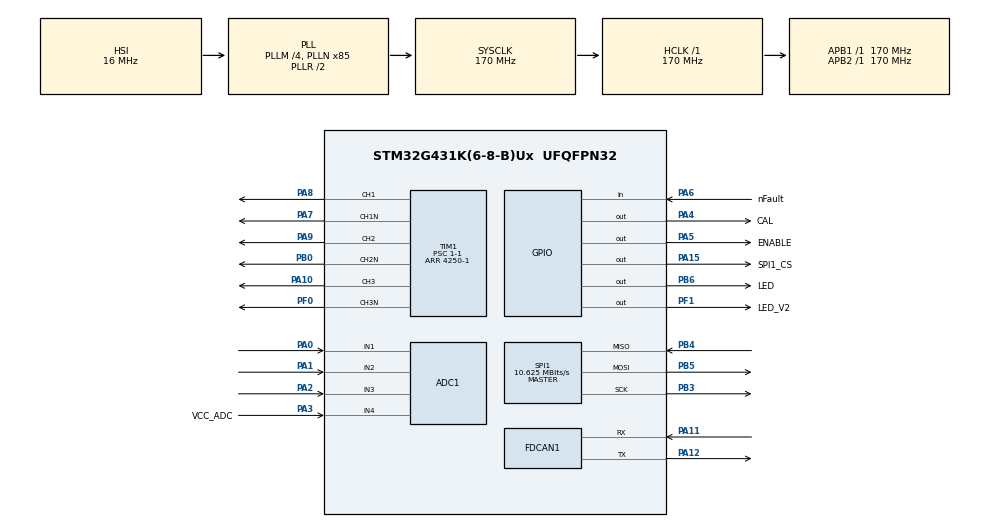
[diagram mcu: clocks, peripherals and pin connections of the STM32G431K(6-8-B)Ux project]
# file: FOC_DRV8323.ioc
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ADC1.Channel-16\#ChannelRegularConversion=ADC_CHANNEL_4
ADC1.Channel-17\#ChannelRegularConversion=ADC_CHANNEL_TEMPSENSOR_ADC1
ADC1.Channel-18\#ChannelRegularConversion=ADC_CHANNEL_VREFINT
ADC1.EnableInjectedConversion=ENABLE
ADC1.EnableRegularConversion=ENABLE
ADC1.ExternalTrigInjecConv=ADC_EXTERNALTRIGINJEC_T1_TRGO
ADC1.InjNumberOfConversion=3
ADC1.InjectedChannel-6\#ChannelInjectedConversion=ADC_CHANNEL_1
ADC1.InjectedChannel-7\#ChannelInjectedConversion=ADC_CHANNEL_2
ADC1.InjectedChannel-8\#ChannelInjectedConversion=ADC_CHANNEL_3
ADC1.InjectedOffsetNumber-6\#ChannelInjectedConversion=ADC_OFFSET_NONE
ADC1.InjectedOffsetNumber-7\#ChannelInjectedConversion=ADC_OFFSET_NONE
ADC1.InjectedOffsetNumber-8\#ChannelInjectedConversion=ADC_OFFSET_NONE
ADC1.InjectedRank-6\#ChannelInjectedConversion=1
ADC1.InjectedRank-7\#ChannelInjectedConversion=2
ADC1.InjectedRank-8\#ChannelInjectedConversion=3
ADC1.InjectedSamplingTime-6\#ChannelInjectedConversion=ADC_SAMPLETIME_2CYCLES_5
ADC1.InjectedSamplingTime-7\#ChannelInjectedConversion=ADC_SAMPLETIME_2CYCLES_5
ADC1.InjectedSamplingTime-8\#ChannelInjectedConversion=ADC_SAMPLETIME_2CYCLES_5
ADC1.NbrOfConversion=3
ADC1.NbrOfConversionFlag=1
ADC1.OffsetNumber-16\#ChannelRegularConversion=ADC_OFFSET_NONE
ADC1.OffsetNumber-17\#ChannelRegularConversion=ADC_OFFSET_NONE
ADC1.OffsetNumber-18\#ChannelRegularConversion=ADC_OFFSET_NONE
ADC1.Rank-16\#ChannelRegularConversion=1
ADC1.Rank-17\#ChannelRegularConversion=2
ADC1.Rank-18\#ChannelRegularConversion=3
ADC1.Rank1_Channel=ADC_CHANNEL_1
ADC1.Rank2_Channel=ADC_CHANNEL_2
ADC1.Rank3_Channel=ADC_CHANNEL_3
ADC1.Rank4_Channel=ADC_CHANNEL_4
ADC1.SamplingTime-16\#ChannelRegularConversion=ADC_SAMPLETIME_2CYCLES_5
ADC1.SamplingTime-17\#ChannelRegularConversion=ADC_SAMPLETIME_2CYCLES_5
ADC1.SamplingTime-18\#ChannelRegularConversion=ADC_SAMPLETIME_2CYCLES_5
ADC1.master=1
Dma.ADC1.0.Direction=DMA_PERIPH_TO_MEMORY
Dma.ADC1.0.EventEnable=DISABLE
Dma.ADC1.0.Instance=DMA1_Channel1
Dma.ADC1.0.MemDataAlignment=DMA_MDATAALIGN_HALFWORD
Dma.ADC1.0.MemInc=DMA_MINC_ENABLE
Dma.ADC1.0.Mode=DMA_NORMAL
Dma.ADC1.0.PeriphDataAlignment=DMA_PDATAALIGN_HALFWORD
Dma.ADC1.0.PeriphInc=DMA_PINC_DISABLE
Dma.ADC1.0.Polarity=HAL_DMAMUX_REQ_GEN_RISING
Dma.ADC1.0.Priority=DMA_PRIORITY_VERY_HIGH
Dma.ADC1.0.RequestNumber=1
Dma.ADC1.0.SignalID=NONE
Dma.ADC1.0.SyncEnable=DISABLE
Dma.ADC1.0.SyncPolarity=HAL_DMAMUX_SYNC_NO_EVENT
Dma.ADC1.0.SyncRequestNumber=1
Dma.ADC1.0.SyncSignalID=NONE
Dma.Request0=ADC1
Dma.Request1=SPI1_RX
Dma.Request2=SPI1_TX
Dma.SPI1_RX.1.Direction=DMA_PERIPH_TO_MEMORY
Dma.SPI1_RX.1.EventEnable=DISABLE
Dma.SPI1_RX.1.Instance=DMA2_Channel1
Dma.SPI1_RX.1.MemDataAlignment=DMA_MDATAALIGN_BYTE
Dma.SPI1_RX.1.MemInc=DMA_MINC_ENABLE
Dma.SPI1_RX.1.Mode=DMA_NORMAL
Dma.SPI1_RX.1.PeriphDataAlignment=DMA_PDATAALIGN_BYTE
Dma.SPI1_RX.1.PeriphInc=DMA_PINC_DISABLE
Dma.SPI1_RX.1.Polarity=HAL_DMAMUX_REQ_GEN_RISING
Dma.SPI1_RX.1.Priority=DMA_PRIORITY_HIGH
Dma.SPI1_RX.1.RequestNumber=1
Dma.SPI1_RX.1.SignalID=NONE
Dma.SPI1_RX.1.SyncEnable=DISABLE
Dma.SPI1_RX.1.SyncPolarity=HAL_DMAMUX_SYNC_NO_EVENT
Dma.SPI1_RX.1.SyncRequestNumber=1
Dma.SPI1_RX.1.SyncSignalID=NONE
Dma.SPI1_TX.2.Direction=DMA_MEMORY_TO_PERIPH
Dma.SPI1_TX.2.EventEnable=DISABLE
Dma.SPI1_TX.2.Instance=DMA2_Channel2
Dma.SPI1_TX.2.MemDataAlignment=DMA_MDATAALIGN_BYTE
Dma.SPI1_TX.2.MemInc=DMA_MINC_ENABLE
Dma.SPI1_TX.2.Mode=DMA_NORMAL
Dma.SPI1_TX.2.PeriphDataAlignment=DMA_PDATAALIGN_BYTE
Dma.SPI1_TX.2.PeriphInc=DMA_PINC_DISABLE
Dma.SPI1_TX.2.Polarity=HAL_DMAMUX_REQ_GEN_RISING
Dma.SPI1_TX.2.Priority=DMA_PRIORITY_HIGH
Dma.SPI1_TX.2.RequestNumber=1
Dma.SPI1_TX.2.SignalID=NONE
Dma.SPI1_TX.2.SyncEnable=DISABLE
Dma.SPI1_TX.2.SyncPolarity=HAL_DMAMUX_SYNC_NO_EVENT
Dma.SPI1_TX.2.SyncRequestNumber=1
Dma.SPI1_TX.2.SyncSignalID=NONE
FDCAN1.AutoRetransmission=ENABLE
FDCAN1.CalculateBaudRateNominal=1700000
FDCAN1.CalculateTimeBitNominal=588
FDCAN1.CalculateTimeQuantumNominal=58.82352941176471
FDCAN1.DataPrescaler=17
FDCAN1.DataTimeSeg1=6
FDCAN1.DataTimeSeg2=3
FDCAN1.ExtFiltersNbr=8
FDCAN1.FrameFormat=FDCAN_FRAME_FD_BRS
FDCAN1.NominalPrescaler=10
FDCAN1.NominalTimeSeg1=6
FDCAN1.NominalTimeSeg2=3
FDCAN1.ProtocolException=ENABLE
FDCAN1.StdFiltersNbr=8
FDCAN1.TransmitPause=ENABLE
Mcu.Family=STM32G4
Mcu.Name=STM32G431K(6-8-B)Ux
Mcu.Package=UFQFPN32
Mcu.UserConstants=CKTIM,170000000;PWM_RPSC,0;PWM_FREQ,25000;PWM_PERIOD,CKTIM/(2*PWM_FREQ*(PWM_PRSC+1));REP_RATE,1;DEADTIME_NS,1000;DEADTIME,CKTIM/1000000/2*DEADTIME_NS/1000
NVIC.ADC1_2_IRQn=true\:0\:0\:false\:false\:true\:true\:true\:true
NVIC.DMA1_Channel1_IRQn=true\:0\:0\:false\:false\:true\:false\:true\:true
NVIC.DMA2_Channel1_IRQn=true\:0\:0\:false\:false\:true\:false\:true\:true
NVIC.DMA2_Channel2_IRQn=true\:0\:0\:false\:false\:true\:false\:true\:true
NVIC.FDCAN1_IT0_IRQn=true\:4\:0\:true\:false\:true\:true\:true\:true
NVIC.PriorityGroup=NVIC_PRIORITYGROUP_4
NVIC.SPI1_IRQn=true\:2\:0\:true\:false\:true\:true\:true\:true
NVIC.TIM1_BRK_TIM15_IRQn=true\:0\:0\:true\:false\:true\:true\:true\:true
NVIC.TIM1_UP_TIM16_IRQn=true\:0\:0\:true\:false\:true\:true\:true\:true
NVIC.TIM2_IRQn=true\:0\:0\:false\:false\:true\:false\:true\:true
NVIC.TIM3_IRQn=true\:1\:0\:true\:false\:true\:true\:true\:true
NVIC.TimeBase=TIM2_IRQn
NVIC.TimeBaseIP=TIM2
PA0.Mode=IN1-Single-Ended
PA0.Signal=ADC1_IN1
PA1.Mode=IN2-Single-Ended
PA1.Signal=ADC1_IN2
PA10.GPIO_Speed=GPIO_SPEED_FREQ_VERY_HIGH
PA10.Signal=S_TIM1_CH3
PA11.Mode=FDCAN_Activate
PA11.Signal=FDCAN1_RX
PA12.Mode=FDCAN_Activate
PA12.Signal=FDCAN1_TX
PA13.Mode=Serial_Wire
PA13.Signal=SYS_JTMS-SWDIO
PA14.Mode=Serial_Wire
PA14.Signal=SYS_JTCK-SWCLK
PA15.GPIO_Label=SPI1_CS
PA15.GPIO_PuPd=GPIO_PULLUP
PA15.GPIO_Speed=GPIO_SPEED_FREQ_VERY_HIGH
PA15.Signal=GPIO_Output
PA2.Mode=IN3-Single-Ended
PA2.Signal=ADC1_IN3
PA3.GPIO_Label=VCC_ADC
PA3.Mode=IN4-Single-Ended
PA3.Signal=ADC1_IN4
PA4.GPIO_Label=CAL
PA4.Signal=GPIO_Output
PA5.GPIO_Label=ENABLE
PA5.Signal=GPIO_Output
PA6.GPIO_Label=nFault
PA6.Signal=GPIO_Input
PA7.GPIO_Speed=GPIO_SPEED_FREQ_VERY_HIGH
PA7.Mode=PWM Generation1 CH1 CH1N
PA7.Signal=TIM1_CH1N
PA8.GPIO_Speed=GPIO_SPEED_FREQ_VERY_HIGH
PA8.Signal=S_TIM1_CH1
PA9.GPIO_Speed=GPIO_SPEED_FREQ_VERY_HIGH
PA9.Signal=S_TIM1_CH2
PB0.GPIO_Speed=GPIO_SPEED_FREQ_VERY_HIGH
PB0.Mode=PWM Generation2 CH2 CH2N
PB0.Signal=TIM1_CH2N
PB3.GPIO_PuPd=GPIO_PULLUP
PB3.GPIO_Speed=GPIO_SPEED_FREQ_VERY_HIGH
PB3.Mode=Full_Duplex_Master
PB3.Signal=SPI1_SCK
PB4.GPIO_PuPd=GPIO_PULLUP
PB4.GPIO_Speed=GPIO_SPEED_FREQ_VERY_HIGH
PB4.Mode=Full_Duplex_Master
PB4.Signal=SPI1_MISO
PB5.GPIO_PuPd=GPIO_PULLUP
PB5.GPIO_Speed=GPIO_SPEED_FREQ_VERY_HIGH
PB5.Mode=Full_Duplex_Master
PB5.Signal=SPI1_MOSI
PB6.GPIO_Label=LED
PB6.GPIO_Speed=GPIO_SPEED_FREQ_VERY_HIGH
PB6.Signal=GPIO_Output
PF0-OSC_IN.GPIO_Speed=GPIO_SPEED_FREQ_VERY_HIGH
PF0-OSC_IN.Mode=PWM Generation3 CH3 CH3N
PF0-OSC_IN.Signal=TIM1_CH3N
PF1-OSC_OUT.GPIO_Label=LED_V2
PF1-OSC_OUT.Signal=GPIO_Output
ProjectManager.HeapSize=0x200
ProjectManager.StackSize=0x400
ProjectManager.TargetToolchain=MDK-ARM V5.27
RCC.ADC12Freq_Value=170000000
RCC.AHBFreq_Value=170000000
RCC.APB1Freq_Value=170000000
RCC.APB1TimFreq_Value=170000000
RCC.APB2Freq_Value=170000000
RCC.APB2TimFreq_Value=170000000
RCC.CortexFreq_Value=170000000
RCC.EXTERNAL_CLOCK_VALUE=12288000
RCC.HCLKFreq_Value=170000000
RCC.HSE_VALUE=40000000
RCC.HSI48_VALUE=48000000
RCC.HSI_VALUE=16000000
RCC.LSE_VALUE=32768
RCC.PLLM=RCC_PLLM_DIV4
RCC.PLLN=85
RCC.SYSCLKFreq_VALUE=170000000
RCC.SYSCLKSource=RCC_SYSCLKSOURCE_PLLCLK
RCC.USBFreq_Value=170000000
RCC.VCOOutputFreq_Value=340000000
SH.S_TIM1_CH1.0=TIM1_CH1,PWM Generation1 CH1 CH1N
SH.S_TIM1_CH2.0=TIM1_CH2,PWM Generation2 CH2 CH2N
SH.S_TIM1_CH3.0=TIM1_CH3,PWM Generation3 CH3 CH3N
SPI1.BaudRatePrescaler=SPI_BAUDRATEPRESCALER_16
SPI1.CLKPhase=SPI_PHASE_2EDGE
SPI1.CLKPolarity=SPI_POLARITY_HIGH
SPI1.CalculateBaudRate=10.625 MBits/s
SPI1.DataSize=SPI_DATASIZE_8BIT
SPI1.Direction=SPI_DIRECTION_2LINES
SPI1.Mode=SPI_MODE_MASTER
SPI1.VirtualType=VM_MASTER
TIM1.BreakState=TIM_BREAK_ENABLE
TIM1.Channel-PWM\ Generation1\ CH1\ CH1N=TIM_CHANNEL_1
TIM1.Channel-PWM\ Generation2\ CH2\ CH2N=TIM_CHANNEL_2
TIM1.Channel-PWM\ Generation3\ CH3\ CH3N=TIM_CHANNEL_3
TIM1.ClockDivision=TIM_CLOCKDIVISION_DIV1
TIM1.CounterMode=TIM_COUNTERMODE_CENTERALIGNED1
TIM1.DeadTime=120
TIM1.DeadTimePreload=ENABLE
TIM1.LockLevel=TIM_LOCKLEVEL_1
TIM1.OCFastMode_PWM-PWM\ Generation1\ CH1\ CH1N=TIM_OCFAST_ENABLE
TIM1.OCNIdleState_1=TIM_OCNIDLESTATE_RESET
TIM1.OCNIdleState_2=TIM_OCNIDLESTATE_RESET
TIM1.OCNIdleState_3=TIM_OCNIDLESTATE_RESET
TIM1.OCNPolarity_1=TIM_OCNPOLARITY_HIGH
TIM1.OCNPolarity_2=TIM_OCNPOLARITY_HIGH
TIM1.OCNPolarity_3=TIM_OCNPOLARITY_HIGH
TIM1.OffStateIDLEMode=TIM_OSSI_ENABLE
TIM1.OffStateRunMode=TIM_OSSR_ENABLE
TIM1.PeriodNoDither=4250-1
TIM1.Prescaler=1-1
TIM1.PulseNoDither_2=1700
TIM1.PulseNoDither_3=1700
TIM1.RepetitionCounter=0
TIM1.TIM_MasterOutputTrigger=TIM_TRGO_UPDATE
TIM1.TIM_MasterSlaveMode=TIM_MASTERSLAVEMODE_DISABLE
TIM3.AutoReloadPreload=TIM_AUTORELOAD_PRELOAD_ENABLE
TIM3.ClockDivision=TIM_CLOCKDIVISION_DIV2
TIM3.PeriodNoDither=2500-1
TIM3.Prescaler=17-1
VP_ADC1_TempSens_Input.Mode=IN-TempSens
VP_ADC1_Vref_Input.Mode=IN-Vrefint
VP_SYS_VS_DBSignals.Mode=DisableDeadBatterySignals
VP_SYS_VS_tim2.Mode=TIM2
VP_TIM1_VS_ClockSourceINT.Mode=Internal
VP_TIM3_VS_ClockSourceINT.Mode=Internal
board=custom

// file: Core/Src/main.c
/* USER CODE BEGIN Header */
/**
 ******************************************************************************
 * @file           : main.c
 * @brief          : Main program body
 ******************************************************************************
 * @attention
 *
 * <h2><center>&copy; Copyright (c) 2024 STMicroelectronics.
 * All rights reserved.</center></h2>
 *
 * This software component is licensed by ST under BSD 3-Clause license,
 * the "License"; You may not use this file except in compliance with the
 * License. You may obtain a copy of the License at:
 *                        opensource.org/licenses/BSD-3-Clause
 *
 ******************************************************************************
 */
/* USER CODE END Header */
#include "main.h"
#include "adc.h"
#include "dma.h"
#include "fdcan.h"
#include "spi.h"
#include "tim.h"
#include "gpio.h"

/* USER CODE BEGIN Includes */
#include "Foc_Control.h"
#include "Foc_Error.h"
/* USER CODE END Includes */

void SystemClock_Config(void);

int main(void)
{

  /* MCU Configuration--------------------------------------------------------*/

  /* Reset of all peripherals, Initializes the Flash interface and the Systick. */
  HAL_Init();

  /* Configure the system clock */
  SystemClock_Config();

  /* Initialize all configured peripherals */
  MX_GPIO_Init();
  MX_DMA_Init();
  MX_TIM1_Init();
  MX_ADC1_Init();
  MX_FDCAN1_Init();
  MX_SPI1_Init();
  MX_TIM3_Init();
  /* USER CODE BEGIN 2 */
  HAL_Delay(1000);   //��ʱ����ϵ�ʱ������
  FOC_Main_Init();

  /* USER CODE END 2 */

  /* Infinite loop */
    while (1)
    {

    }
}

void SystemClock_Config(void)
{
  RCC_OscInitTypeDef RCC_OscInitStruct = {0};
  RCC_ClkInitTypeDef RCC_ClkInitStruct = {0};

  /** Configure the main internal regulator output voltage
  */
  HAL_PWREx_ControlVoltageScaling(PWR_REGULATOR_VOLTAGE_SCALE1_BOOST);

  /** Initializes the RCC Oscillators according to the specified parameters
  * in the RCC_OscInitTypeDef structure.
  */
  RCC_OscInitStruct.OscillatorType = RCC_OSCILLATORTYPE_HSI;
  RCC_OscInitStruct.HSIState = RCC_HSI_ON;
  RCC_OscInitStruct.HSICalibrationValue = RCC_HSICALIBRATION_DEFAULT;
  RCC_OscInitStruct.PLL.PLLState = RCC_PLL_ON;
  RCC_OscInitStruct.PLL.PLLSource = RCC_PLLSOURCE_HSI;
  RCC_OscInitStruct.PLL.PLLM = RCC_PLLM_DIV4;
  RCC_OscInitStruct.PLL.PLLN = 85;
  RCC_OscInitStruct.PLL.PLLP = RCC_PLLP_DIV2;
  RCC_OscInitStruct.PLL.PLLQ = RCC_PLLQ_DIV2;
  RCC_OscInitStruct.PLL.PLLR = RCC_PLLR_DIV2;
  if (HAL_RCC_OscConfig(&RCC_OscInitStruct) != HAL_OK)
  {
    Error_Handler();
  }

  /** Initializes the CPU, AHB and APB buses clocks
  */
  RCC_ClkInitStruct.ClockType = RCC_CLOCKTYPE_HCLK|RCC_CLOCKTYPE_SYSCLK
                              |RCC_CLOCKTYPE_PCLK1|RCC_CLOCKTYPE_PCLK2;
  RCC_ClkInitStruct.SYSCLKSource = RCC_SYSCLKSOURCE_PLLCLK;
  RCC_ClkInitStruct.AHBCLKDivider = RCC_SYSCLK_DIV1;
  RCC_ClkInitStruct.APB1CLKDivider = RCC_HCLK_DIV1;
  RCC_ClkInitStruct.APB2CLKDivider = RCC_HCLK_DIV1;

  if (HAL_RCC_ClockConfig(&RCC_ClkInitStruct, FLASH_LATENCY_4) != HAL_OK)
  {
    Error_Handler();
  }
}

void HAL_TIM_PeriodElapsedCallback(TIM_HandleTypeDef *htim)
{
  /* USER CODE BEGIN Callback 0 */
	if (htim->Instance == TIM1) {
//    uint32_t dir = (htim1.Instance->CR1 & TIM_CR1_DIR);
//    if (dir != 0) {
//      FOC_Main_Loop_H_Freq();
//		}
	}
  else if (htim->Instance == TIM3)
  {
			FOC_Main_Loop_L_Freq();
			Error_Main_Loop();      //Error Handler

      static uint16_t cnt = 0;
      if(cnt++ >= 4000)
      {
          cnt = 0;
          Motor_Run.Adc_Hz = Motor_Run.Adc_flag;
          Motor_Run.Adc_flag = 0;
          Motor_Run.run_Hz = Motor_Run.run_flag;
          Motor_Run.run_flag = 0;
					Motor_Run.spi_Hz = Motor_Run.spi_flag;
					Motor_Run.spi_flag = 0;
      }
  }//4000Hz

  /* USER CODE END Callback 0 */
  if (htim->Instance == TIM2)
  {
    HAL_IncTick();
  }
}

void Error_Handler(void)
{
}
